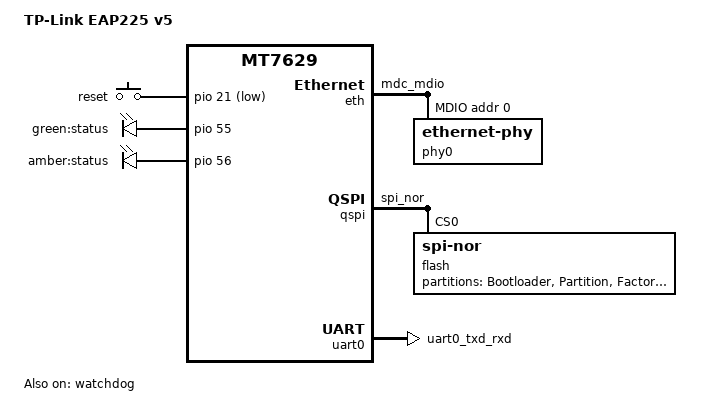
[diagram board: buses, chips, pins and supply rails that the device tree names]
// SPDX-License-Identifier: GPL-2.0

/dts-v1/;
#include <dt-bindings/input/input.h>
#include "mt7629.dtsi"

/ {
	model = "TP-Link EAP225 v5";
	compatible = "tplink,eap225-v5", "mediatek,mt7629";

	aliases {
		led-boot = &led_status_green;
		led-failsafe = &led_status_amber;
		led-running = &led_status_green;
		led-upgrade = &led_status_amber;
		serial0 = &uart0;
	};

	chosen {
		stdout-path = "serial0:115200n8";
		bootargs-override = "console=ttyS0,115200n8";
	};

	keys {
		compatible = "gpio-keys";

		reset {
			label = "reset";
			gpios = <&pio 21 GPIO_ACTIVE_LOW>;
			linux,code = <KEY_RESTART>;
		};
	};

	leds {
		compatible = "gpio-leds";

		led_status_green: status_green {
			label = "green:status";
			gpios = <&pio 55 GPIO_ACTIVE_HIGH>;
			default-state = "on";
		};

		led_status_amber: status_amber {
			label = "amber:status";
			gpios = <&pio 56 GPIO_ACTIVE_HIGH>;
		};
	};
};

&eth {
	pinctrl-names = "default";
	pinctrl-0 = <&eth_pins>;
	pinctrl-1 = <&ephy_leds_pins>;
	status = "okay";

	mac@1 {
		compatible = "mediatek,eth-mac";
		reg = <1>;
		phy-mode = "gmii";
		phy-handle = <&phy0>;
		nvmem-cells = <&macaddr_factory_8>;
		nvmem-cell-names = "mac-address";
	};

	mdio-bus {
		#address-cells = <1>;
		#size-cells = <0>;

		phy0: ethernet-phy@0 {
			reg = <0>;
		};
	};
};

&qspi {
	status = "okay";

	pinctrl-names = "default";
	pinctrl-0 = <&qspi_pins>;

	flash@0 {
		compatible = "jedec,spi-nor";
		reg = <0>;

		partitions {
			compatible = "fixed-partitions";
			#address-cells = <1>;
			#size-cells = <1>;

			partition@0 {
				label = "Bootloader";
				reg = <0x0 0x00080000>;
				read-only;
			};

			partition@80000 {
				label = "Partition";
				reg = <0x00080000 0x00010000>;
				read-only;
			};

			partition@90000 {
				label = "Factory";
				reg = <0x00090000 0x00010000>;
				read-only;

				nvmem-layout {
					compatible = "fixed-layout";
					#address-cells = <1>;
					#size-cells = <1>;

					macaddr_factory_8: macaddr@8 {
						reg = <0x8 0x6>;
					};
				};
			};

			partition@A0000 {
				label = "Radio";
				reg = <0x000A0000 0x00010000>;
				read-only;
			};

			partition@B0000 {
				label = "Extra";
				reg = <0x000B0000 0x00010000>;
				read-only;
			};

			/* Vendor layout: kernel (0x000C0000 0x001A0000) - rootfs (0x00260000 0x00BE0000) */
			/* OpenWrt flash layout: combine kernel and rootfs from OEM layout */
			partition@C0000 {
				label = "firmware";
				reg = <0x000C0000 0x00D80000>;
			};

			partition@E40000 {
				label = "Config";
				reg = <0x00E40000 0x0001B0000>;
				read-only;
			};
		};
	};
};

&pio {
	eth_pins: eth-pins {
		mux {
			function = "eth";
			groups = "mdc_mdio";
		};
	};

	ephy_leds_pins: ephy-leds-pins {
		mux {
			function = "led";
			groups = "ephy_leds";
		};
	};

	qspi_pins: qspi-pins {
		mux {
			function = "flash";
			groups = "spi_nor";
		};
	};

	uart0_pins: uart0-pins {
		mux {
			function = "uart";
			groups = "uart0_txd_rxd" ;
		};
	};

	watchdog_pins: watchdog-pins {
		mux {
			function = "watchdog";
			groups = "watchdog";
		};
	};
};

&uart0 {
	pinctrl-names = "default";
	pinctrl-0 = <&uart0_pins>;
	status = "okay";
};

&watchdog {
	pinctrl-names = "default";
	pinctrl-0 = <&watchdog_pins>;
	status = "okay";
};
